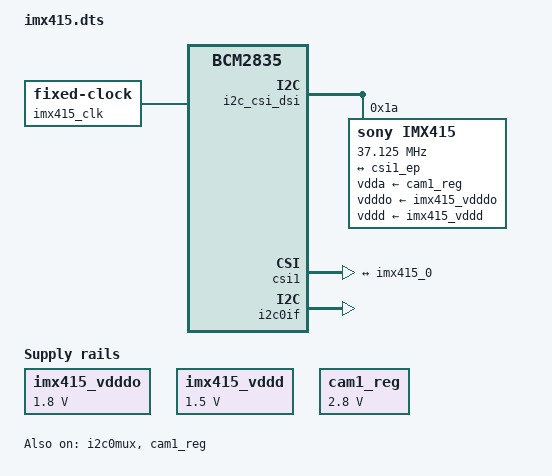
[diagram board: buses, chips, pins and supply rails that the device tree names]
// SPDX-License-Identifier: GPL-2.0-only
// Partial definitions for IMX415 camera module on VC I2C bus
// The compatible string should be set in an overlay that then includes this one
/dts-v1/;
/plugin/;

#include <dt-bindings/gpio/gpio.h>

/{
	compatible = "brcm,bcm2835";

	fragment@0 {
		target = <&i2c_csi_dsi>;
		__overlay__ {
			#address-cells = <1>;
			#size-cells = <0>;
			status = "okay";

			imx415: imx415@1a {
				compatible = "sony,imx415";
				reg = <0x1a>;
				status = "okay";

				clocks = <&imx415_clk>;
				clock-names = "xclk";
				clock-frequency = <37125000>;

				vdda-supply = <&cam1_reg>;	/* 2.8v */
				vdddo-supply = <&imx415_vdddo>;	/* 1.8v */
				vddd-supply = <&imx415_vddd>;	/* 1.5v */

				port {
					imx415_0: endpoint {
						remote-endpoint = <&csi1_ep>;
						clock-lanes = <0>;
					};
				};
			};
		};
	};

	fragment@1 {
		target = <&csi1>;
		__overlay__ {
			status = "okay";

			port {
				csi1_ep: endpoint {
					remote-endpoint = <&imx415_0>;
				};
			};
		};
	};

	fragment@2 {
		target = <&i2c0if>;
		__overlay__ {
			status = "okay";
		};
	};

	fragment@3 {
		target-path="/";
		__overlay__ {
			imx415_vdddo: fixedregulator@1 {
				compatible = "regulator-fixed";
				regulator-name = "imx415_vdddo";
				regulator-min-microvolt = <1800000>;
				regulator-max-microvolt = <1800000>;
			};
			imx415_vddd: fixedregulator@2 {
				compatible = "regulator-fixed";
				regulator-name = "imx415_vddd";
				regulator-min-microvolt = <1500000>;
				regulator-max-microvolt = <1500000>;
			};

			imx415_clk: camera-clk {
				compatible = "fixed-clock";
				#clock-cells = <0>;
				clock-frequency = <37125000>;
			};
		};
	};

	fragment@4 {
		target = <&i2c0mux>;
		__overlay__ {
			status = "okay";
		};
	};

	fragment@5 {
		target = <&cam1_reg>;
		__overlay__ {
			status = "okay";
			regulator-name = "imx415_vdda";
			regulator-min-microvolt = <2800000>;
			regulator-max-microvolt = <2800000>;
		};
	};

	fragment@6 {
		target = <&imx415_0>;
		__overlay__ {
			data-lanes = <1 2>;
			link-frequencies =
				/bits/ 64 <445500000 297000000>;
		};
	};

	fragment@7 {
		target = <&imx415_0>;
		__dormant__ {
			data-lanes = <1 2 3 4>;
			link-frequencies =
				/bits/ 64 <222750000 148500000>;
		};
	};

	fragment@8 {
		target = <&csi1_ep>;
		__overlay__ {
			data-lanes = <1 2>;
		};
	};

	fragment@9 {
		target = <&csi1_ep>;
		__dormant__ {
			data-lanes = <1 2 3 4>;
		};
	};

	__overrides__ {
		4lane = <0>, "-6+7-8+9";
		clock-frequency = <&imx415_clk>,"clock-frequency:0",
				  <&imx415>,"clock-frequency:0";
	};
};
